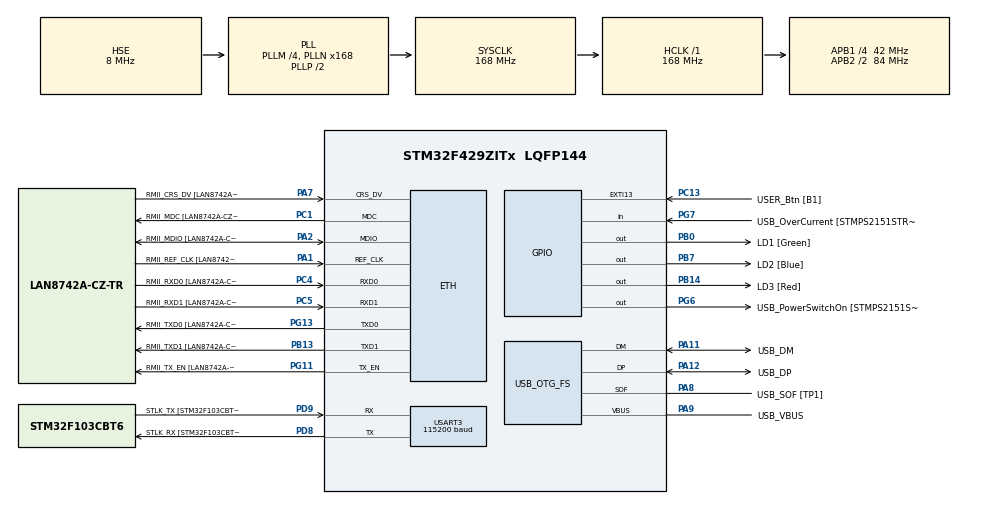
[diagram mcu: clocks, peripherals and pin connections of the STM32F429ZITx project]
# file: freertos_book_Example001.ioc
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ETH.MediaInterface=HAL_ETH_RMII_MODE
ETH.PHY_Name=LAN8742A_PHY_ADDRESS
ETH.PHY_Value=0
ETH.PhyAddress=0
FREERTOS.MEMORY_ALLOCATION=0
FREERTOS.Tasks01=defaultTask,0,128,StartDefaultTask,Default,NULL,Dynamic,NULL,NULL
FREERTOS.configUSE_NEWLIB_REENTRANT=1
Mcu.Family=STM32F4
Mcu.Name=STM32F429ZITx
Mcu.Package=LQFP144
NVIC.PriorityGroup=NVIC_PRIORITYGROUP_4
NVIC.TIM7_IRQn=true\:15\:0\:false\:false\:true\:false\:false\:true\:true
NVIC.TimeBase=TIM7_IRQn
NVIC.TimeBaseIP=TIM7
PA1.GPIO_Label=RMII_REF_CLK [LAN8742A-CZ-TR_REFCLK0]
PA1.Mode=RMII
PA1.Signal=ETH_REF_CLK
PA10.GPIO_Label=USB_ID
PA10.Signal=USB_OTG_FS_ID
PA11.GPIO_Label=USB_DM
PA11.Mode=Device_Only
PA11.Signal=USB_OTG_FS_DM
PA12.GPIO_Label=USB_DP
PA12.Mode=Device_Only
PA12.Signal=USB_OTG_FS_DP
PA13.GPIO_Label=TMS
PA13.Mode=Serial_Wire
PA13.Signal=SYS_JTMS-SWDIO
PA14.GPIO_Label=TCK
PA14.Mode=Serial_Wire
PA14.Signal=SYS_JTCK-SWCLK
PA2.GPIO_Label=RMII_MDIO [LAN8742A-CZ-TR_MDIO]
PA2.Mode=RMII
PA2.Signal=ETH_MDIO
PA7.GPIO_Label=RMII_CRS_DV [LAN8742A-CZ-TR_CRS_DV]
PA7.Mode=RMII
PA7.Signal=ETH_CRS_DV
PA8.GPIO_Label=USB_SOF [TP1]
PA8.Mode=Activate_SOF_FS
PA8.Signal=USB_OTG_FS_SOF
PA9.GPIO_Label=USB_VBUS
PA9.Mode=Activate_VBUS
PA9.Signal=USB_OTG_FS_VBUS
PB0.GPIO_Label=LD1 [Green]
PB0.Signal=GPIO_Output
PB13.GPIO_Label=RMII_TXD1 [LAN8742A-CZ-TR_TXD1]
PB13.Mode=RMII
PB13.Signal=ETH_TXD1
PB14.GPIO_Label=LD3 [Red]
PB14.Signal=GPIO_Output
PB7.GPIO_Label=LD2 [Blue]
PB7.Signal=GPIO_Output
PC1.GPIO_Label=RMII_MDC [LAN8742A-CZ-TR_MDC]
PC1.Mode=RMII
PC1.Signal=ETH_MDC
PC13.GPIO_Label=USER_Btn [B1]
PC13.Signal=GPXTI13
PC14/OSC32_IN.Mode=LSE-External-Oscillator
PC14/OSC32_IN.Signal=RCC_OSC32_IN
PC15/OSC32_OUT.Mode=LSE-External-Oscillator
PC15/OSC32_OUT.Signal=RCC_OSC32_OUT
PC4.GPIO_Label=RMII_RXD0 [LAN8742A-CZ-TR_RXD0]
PC4.Mode=RMII
PC4.Signal=ETH_RXD0
PC5.GPIO_Label=RMII_RXD1 [LAN8742A-CZ-TR_RXD1]
PC5.Mode=RMII
PC5.Signal=ETH_RXD1
PD8.GPIO_Label=STLK_RX [STM32F103CBT6_PA3]
PD8.Mode=Asynchronous
PD8.Signal=USART3_TX
PD9.GPIO_Label=STLK_TX [STM32F103CBT6_PA2]
PD9.Mode=Asynchronous
PD9.Signal=USART3_RX
PG11.GPIO_Label=RMII_TX_EN [LAN8742A-CZ-TR_TXEN]
PG11.Mode=RMII
PG11.Signal=ETH_TX_EN
PG13.GPIO_Label=RMII_TXD0 [LAN8742A-CZ-TR_TXD0]
PG13.Mode=RMII
PG13.Signal=ETH_TXD0
PG6.GPIO_Label=USB_PowerSwitchOn [STMPS2151STR_EN]
PG6.Signal=GPIO_Output
PG7.GPIO_Label=USB_OverCurrent [STMPS2151STR_FAULT]
PG7.Signal=GPIO_Input
PH0/OSC_IN.GPIO_Label=MCO [STM32F103CBT6_PA8]
PH0/OSC_IN.Mode=HSE-External-Clock-Source
PH0/OSC_IN.Signal=RCC_OSC_IN
PH1/OSC_OUT.Mode=HSE-External-Clock-Source
PH1/OSC_OUT.Signal=RCC_OSC_OUT
ProjectManager.HeapSize=0x200
ProjectManager.StackSize=0x400
ProjectManager.TargetToolchain=STM32CubeIDE
RCC.48MHZClocksFreq_Value=48000000
RCC.AHBFreq_Value=168000000
RCC.APB1CLKDivider=RCC_HCLK_DIV4
RCC.APB1Freq_Value=42000000
RCC.APB1TimFreq_Value=84000000
RCC.APB2CLKDivider=RCC_HCLK_DIV2
RCC.APB2Freq_Value=84000000
RCC.APB2TimCLKDivider=2
RCC.APB2TimFreq_Value=168000000
RCC.CortexFreq_Value=168000000
RCC.HCLKFreq_Value=168000000
RCC.HSE_VALUE=8000000
RCC.HSI_VALUE=16000000
RCC.PLLM=4
RCC.PLLMUL=RCC_PLL_MUL9
RCC.PLLN=168
RCC.PLLQ=7
RCC.PRESCALERUSB=RCC_USBCLKSOURCE_PLL_DIV1_5
RCC.SYSCLKFreq_VALUE=168000000
RCC.SYSCLKSource=RCC_SYSCLKSOURCE_PLLCLK
RCC.SYSCLKSourceVirtual=RCC_SYSCLKSOURCE_PLLCLK
RCC.USBFreq_Value=48000000
RCC.VCOOutputFreq_Value=336000000
USART3.BaudRate=115200
USART3.VirtualMode=VM_ASYNC
USB_OTG_FS.VirtualMode=Device_Only
VP_FREERTOS_VS_CMSIS_V1.Mode=CMSIS_V1
VP_SYS_VS_tim7.Mode=TIM7
board=NUCLEO-F429ZI

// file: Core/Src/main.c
/* USER CODE BEGIN Header */
/**
  ******************************************************************************
  * @file           : main.c
  * @brief          : Main program body
  ******************************************************************************
  * @attention
  *
  * Copyright (c) 2022 STMicroelectronics.
  * All rights reserved.
  *
  * This software is licensed under terms that can be found in the LICENSE file
  * in the root directory of this software component.
  * If no LICENSE file comes with this software, it is provided AS-IS.
  *
  ******************************************************************************
  */
/* USER CODE END Header */
#include "main.h"
#include "string.h"
#include "cmsis_os.h"                            // Siempre es necesaria esta librería???

/* USER CODE BEGIN Includes */
/* Standard includes. */
#include <stdio.h>
#include <stdlib.h>

/* Demo includes. */
#include "supportingFunctions.h"

/* USER CODE END Includes */

/* USER CODE BEGIN PD */
/* Used as a loop counter to create a very crude delay. */
#define mainDELAY_LOOP_COUNT		( 0xffffff )

/* USER CODE END PD */

ETH_TxPacketConfig TxConfig;
ETH_DMADescTypeDef  DMARxDscrTab[ETH_RX_DESC_CNT]; /* Ethernet Rx DMA Descriptors */
ETH_DMADescTypeDef  DMATxDscrTab[ETH_TX_DESC_CNT]; /* Ethernet Tx DMA Descriptors */

ETH_HandleTypeDef heth;

UART_HandleTypeDef huart3;

PCD_HandleTypeDef hpcd_USB_OTG_FS;

osThreadId defaultTaskHandle;

void SystemClock_Config(void);
static void MX_GPIO_Init(void);
static void MX_ETH_Init(void);                   // No creo que haga falta.
static void MX_USART3_UART_Init(void);
static void MX_USB_OTG_FS_PCD_Init(void);
void StartDefaultTask(void const * argument);

/* USER CODE BEGIN PFP */
void vTask1( void *pvParameters );               // Esto es lo importante...
void vTask2( void *pvParameters );               // Definiendo las tareas!!!

/* USER CODE END PFP */

int main(void)
{
  /* USER CODE BEGIN 1 */
	const char *pcTextForMain = "freertos_book_Example001 is running: Creating tasks\r\n\n";

  /* USER CODE END 1 */

  /* MCU Configuration--------------------------------------------------------*/

  /* Reset of all peripherals, Initializes the Flash interface and the Systick. */
  HAL_Init();

  /* Configure the system clock */
  SystemClock_Config();

  /* Initialize all configured peripherals */
  MX_GPIO_Init();
  MX_ETH_Init();                                 // Para???
  MX_USART3_UART_Init();
  MX_USB_OTG_FS_PCD_Init();                      // Para???
  /* USER CODE BEGIN 2 */
	/* Print out the name of this Example. */
  	vPrintString( pcTextForMain );

  /* USER CODE END 2 */

  /* Create the thread(s) */
  /* definition and creation of defaultTask */
  osThreadDef(defaultTask, StartDefaultTask, osPriorityNormal, 0, 128);        // Definido según cmsys?
  defaultTaskHandle = osThreadCreate(osThread(defaultTask), NULL);

  /* USER CODE BEGIN RTOS_THREADS */
  /* add threads, ... */
	BaseType_t ret;

	/* Task 1 thread at priority 1 */
	ret = xTaskCreate( vTask1,						/* Pointer to the function thats implement the task. */
					   "Task 1",					/* Text name for the task. This is to facilitate debugging only. */
					   (2 * configMINIMAL_STACK_SIZE),	/* Stack depth in words. 				*/
					   NULL,						/* We are not using the task parameter.		*/
					   (tskIDLE_PRIORITY + 2UL),	/* This task will run at priority 1. 		*/
		               NULL );                   	/* We are not using the task handle. */

	/* Check the task was created successfully. */
	configASSERT( ret == pdPASS );

	/* Task 2 thread at priority 1 */
	ret = xTaskCreate( vTask2,						/* Pointer to the function thats implement the task. */
		  	  	  	   "Task 2",					/* Text name for the task. This is to facilitate debugging only. */
					   (2 * configMINIMAL_STACK_SIZE),	/* Stack depth in words. 				*/
					   NULL,						/* We are not using the task parameter.		*/
					   (tskIDLE_PRIORITY + 2UL),	/* This task will run at priority 1. 		*/
		               NULL );                   	/* We are not using the task handle. */

	/* Check the task was created successfully. */
	configASSERT( ret == pdPASS );

  /* USER CODE END RTOS_THREADS */

  /* Start scheduler */
  osKernelStart();

  /* We should never get here as control is now taken by the scheduler */
  /* Infinite loop */
  while (1)
  {

  }
}

void SystemClock_Config(void)
{
  RCC_OscInitTypeDef RCC_OscInitStruct = {0};
  RCC_ClkInitTypeDef RCC_ClkInitStruct = {0};

  /** Configure the main internal regulator output voltage
  */
  __HAL_RCC_PWR_CLK_ENABLE();
  __HAL_PWR_VOLTAGESCALING_CONFIG(PWR_REGULATOR_VOLTAGE_SCALE1);

  /** Initializes the RCC Oscillators according to the specified parameters
  * in the RCC_OscInitTypeDef structure.
  */
  RCC_OscInitStruct.OscillatorType = RCC_OSCILLATORTYPE_HSE;
  RCC_OscInitStruct.HSEState = RCC_HSE_BYPASS;
  RCC_OscInitStruct.PLL.PLLState = RCC_PLL_ON;
  RCC_OscInitStruct.PLL.PLLSource = RCC_PLLSOURCE_HSE;
  RCC_OscInitStruct.PLL.PLLM = 4;
  RCC_OscInitStruct.PLL.PLLN = 168;
  RCC_OscInitStruct.PLL.PLLP = RCC_PLLP_DIV2;
  RCC_OscInitStruct.PLL.PLLQ = 7;
  if (HAL_RCC_OscConfig(&RCC_OscInitStruct) != HAL_OK)
  {
    Error_Handler();
  }

  /** Initializes the CPU, AHB and APB buses clocks
  */
  RCC_ClkInitStruct.ClockType = RCC_CLOCKTYPE_HCLK|RCC_CLOCKTYPE_SYSCLK
                              |RCC_CLOCKTYPE_PCLK1|RCC_CLOCKTYPE_PCLK2;
  RCC_ClkInitStruct.SYSCLKSource = RCC_SYSCLKSOURCE_PLLCLK;
  RCC_ClkInitStruct.AHBCLKDivider = RCC_SYSCLK_DIV1;
  RCC_ClkInitStruct.APB1CLKDivider = RCC_HCLK_DIV4;
  RCC_ClkInitStruct.APB2CLKDivider = RCC_HCLK_DIV2;

  if (HAL_RCC_ClockConfig(&RCC_ClkInitStruct, FLASH_LATENCY_5) != HAL_OK)
  {
    Error_Handler();
  }
}

static void MX_ETH_Init(void)
{

   static uint8_t MACAddr[6];

  heth.Instance = ETH;
  MACAddr[0] = 0x00;
  MACAddr[1] = 0x80;
  MACAddr[2] = 0xE1;
  MACAddr[3] = 0x00;
  MACAddr[4] = 0x00;
  MACAddr[5] = 0x00;
  heth.Init.MACAddr = &MACAddr[0];
  heth.Init.MediaInterface = HAL_ETH_RMII_MODE;
  heth.Init.TxDesc = DMATxDscrTab;
  heth.Init.RxDesc = DMARxDscrTab;
  heth.Init.RxBuffLen = 1524;

  if (HAL_ETH_Init(&heth) != HAL_OK)
  {
    Error_Handler();
  }

  memset(&TxConfig, 0 , sizeof(ETH_TxPacketConfig));
  TxConfig.Attributes = ETH_TX_PACKETS_FEATURES_CSUM | ETH_TX_PACKETS_FEATURES_CRCPAD;
  TxConfig.ChecksumCtrl = ETH_CHECKSUM_IPHDR_PAYLOAD_INSERT_PHDR_CALC;
  TxConfig.CRCPadCtrl = ETH_CRC_PAD_INSERT;

}

static void MX_USART3_UART_Init(void)
{

  huart3.Instance = USART3;
  huart3.Init.BaudRate = 19200;
  huart3.Init.WordLength = UART_WORDLENGTH_8B;
  huart3.Init.StopBits = UART_STOPBITS_1;
  huart3.Init.Parity = UART_PARITY_NONE;
  huart3.Init.Mode = UART_MODE_TX_RX;
  huart3.Init.HwFlowCtl = UART_HWCONTROL_NONE;
  huart3.Init.OverSampling = UART_OVERSAMPLING_16;
  if (HAL_UART_Init(&huart3) != HAL_OK)
  {
    Error_Handler();
  }

}

static void MX_USB_OTG_FS_PCD_Init(void)
{

  hpcd_USB_OTG_FS.Instance = USB_OTG_FS;
  hpcd_USB_OTG_FS.Init.dev_endpoints = 4;
  hpcd_USB_OTG_FS.Init.speed = PCD_SPEED_FULL;
  hpcd_USB_OTG_FS.Init.dma_enable = DISABLE;
  hpcd_USB_OTG_FS.Init.phy_itface = PCD_PHY_EMBEDDED;
  hpcd_USB_OTG_FS.Init.Sof_enable = ENABLE;
  hpcd_USB_OTG_FS.Init.low_power_enable = DISABLE;
  hpcd_USB_OTG_FS.Init.lpm_enable = DISABLE;
  hpcd_USB_OTG_FS.Init.vbus_sensing_enable = ENABLE;
  hpcd_USB_OTG_FS.Init.use_dedicated_ep1 = DISABLE;
  if (HAL_PCD_Init(&hpcd_USB_OTG_FS) != HAL_OK)
  {
    Error_Handler();
  }

}

static void MX_GPIO_Init(void)
{
  GPIO_InitTypeDef GPIO_InitStruct = {0};

  /* GPIO Ports Clock Enable */
  __HAL_RCC_GPIOC_CLK_ENABLE();
  __HAL_RCC_GPIOH_CLK_ENABLE();
  __HAL_RCC_GPIOA_CLK_ENABLE();
  __HAL_RCC_GPIOB_CLK_ENABLE();
  __HAL_RCC_GPIOD_CLK_ENABLE();
  __HAL_RCC_GPIOG_CLK_ENABLE();

  /*Configure GPIO pin Output Level */
  HAL_GPIO_WritePin(GPIOB, LD1_Pin|LD3_Pin|LD2_Pin, GPIO_PIN_RESET);

  /*Configure GPIO pin Output Level */
  HAL_GPIO_WritePin(USB_PowerSwitchOn_GPIO_Port, USB_PowerSwitchOn_Pin, GPIO_PIN_RESET);

  /*Configure GPIO pin : USER_Btn_Pin */
  GPIO_InitStruct.Pin = USER_Btn_Pin;
  GPIO_InitStruct.Mode = GPIO_MODE_IT_RISING;
  GPIO_InitStruct.Pull = GPIO_NOPULL;
  HAL_GPIO_Init(USER_Btn_GPIO_Port, &GPIO_InitStruct);

  /*Configure GPIO pins : LD1_Pin LD3_Pin LD2_Pin */
  GPIO_InitStruct.Pin = LD1_Pin|LD3_Pin|LD2_Pin;
  GPIO_InitStruct.Mode = GPIO_MODE_OUTPUT_PP;
  GPIO_InitStruct.Pull = GPIO_NOPULL;
  GPIO_InitStruct.Speed = GPIO_SPEED_FREQ_LOW;
  HAL_GPIO_Init(GPIOB, &GPIO_InitStruct);

  /*Configure GPIO pin : USB_PowerSwitchOn_Pin */
  GPIO_InitStruct.Pin = USB_PowerSwitchOn_Pin;
  GPIO_InitStruct.Mode = GPIO_MODE_OUTPUT_PP;
  GPIO_InitStruct.Pull = GPIO_NOPULL;
  GPIO_InitStruct.Speed = GPIO_SPEED_FREQ_LOW;
  HAL_GPIO_Init(USB_PowerSwitchOn_GPIO_Port, &GPIO_InitStruct);

  /*Configure GPIO pin : USB_OverCurrent_Pin */
  GPIO_InitStruct.Pin = USB_OverCurrent_Pin;
  GPIO_InitStruct.Mode = GPIO_MODE_INPUT;
  GPIO_InitStruct.Pull = GPIO_NOPULL;
  HAL_GPIO_Init(USB_OverCurrent_GPIO_Port, &GPIO_InitStruct);

}

/* USER CODE BEGIN 4 */

/* USER CODE BEGIN Header_vTask1 */
/**
  * @brief  Function implementing the Task1 thread.
  * @param  argument: Not used
  * @retval None
  */
/* USER CODE END Header_vTask1 */
void vTask1( void *pvParameters )

{
	const char *pcTaskName = "Task 1 is running\r\n";
	volatile uint32_t ul;

	/* As per most tasks, this task is implemented in an infinite loop. */
	for( ;; )
	{
		/* Print out the name of this task. */
	    vPrintString( pcTaskName );
	    HAL_GPIO_TogglePin(GPIOB, LD1_Pin);

	    /* Delay for a period. */
	    for( ul = 0; ul < mainDELAY_LOOP_COUNT/3; ul++ )
	    {
	    	/* This loop is just a very crude delay implementation.  There is
	           nothing to do in here.  Later exercises will replace this crude
	           loop with a proper delay/sleep function. */
	    }
	}
}

/* USER CODE BEGIN Header_vTask2 */
/**
* @brief Function implementing the Task2 thread.
* @param argument: Not used
* @retval None
*/
/* USER CODE END Header_vTask2 */
void vTask2( void *pvParameters )
{
	const char *pcTaskName = "Task 2 is running\r\n";
	volatile uint32_t ul;

	/* As per most tasks, this task is implemented in an infinite loop. */
	for( ;; )
	{
		/* Print out the name of this task. */
		vPrintString( pcTaskName );
	    HAL_GPIO_TogglePin(GPIOB, LD2_Pin);

		/* Delay for a period. */
		for( ul = 0; ul < mainDELAY_LOOP_COUNT/2; ul++ )
		{
			/* This loop is just a very crude delay implementation.  There is
	           nothing to do in here.  Later exercises will replace this crude
	           loop with a proper delay/sleep function. */
		}
	}
}

/* USER CODE END 4 */

void StartDefaultTask(void const * argument)
{
  /* USER CODE BEGIN 5 */
  /* Infinite loop */
  for(;;)
  {
    osDelay(50000);
  }
  /* USER CODE END 5 */
}

void HAL_TIM_PeriodElapsedCallback(TIM_HandleTypeDef *htim)
{
  if (htim->Instance == TIM7) {
    HAL_IncTick();
  }
}

void Error_Handler(void)
{
  __disable_irq();
  while (1)
  {
  }
}
